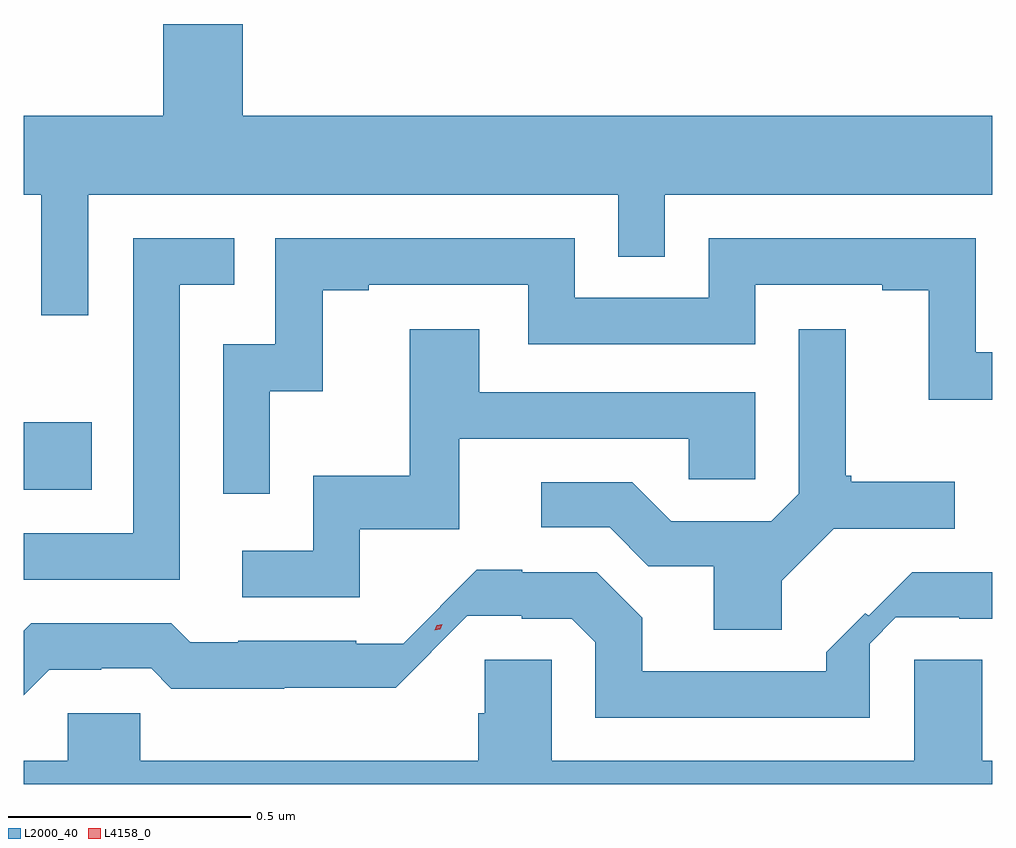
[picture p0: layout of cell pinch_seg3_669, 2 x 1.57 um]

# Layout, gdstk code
import gdstk
lib = gdstk.Library(unit=1e-6, precision=1e-09)
def R(c, l, rs):  # rectangles x0, y0, x1, y1
    for r in rs: c.add(gdstk.rectangle(r[:2], r[2:], *l))
def P(c, l, *ps):  # polygons
    for p in ps: c.add(gdstk.Polygon(p, *l))
L2000_40 = (2000, 40)
L4158_0 = (4158, 0)

pinch_seg3_669 = lib.new_cell('pinch_seg3_669')
R(pinch_seg3_669, L2000_40, [(1039.844,667.007,1039.985,667.147)])
P(pinch_seg3_669, L2000_40, [(1039.977,667.616),(1041.072,667.616),(1041.072,667.489),(1041.168,667.489),(1041.168,667.616),(1041.844,667.616),(1041.844,667.78),(1040.296,667.78),(1040.296,667.969),(1040.132,667.969),(1040.132,667.78),(1039.844,667.78),(1039.844,667.616),(1039.88,667.616),(1039.88,667.368),(1039.977,667.368)],
  [(1040.352,667.211),(1040.462,667.211),(1040.462,667.419),(1040.557,667.419),(1040.557,667.431),(1040.886,667.431),(1040.886,667.308),(1041.354,667.308),(1041.354,667.431),(1041.617,667.431),(1041.617,667.419),(1041.713,667.419),(1041.713,667.193),(1041.844,667.193),(1041.844,667.291),(1041.81,667.291),(1041.81,667.527),(1041.258,667.527),(1041.258,667.404),(1040.982,667.404),(1040.982,667.527),(1040.364,667.527),(1040.364,667.308),(1040.256,667.308),(1040.256,666.999),(1040.352,666.999)],
  [(1040.166,667.431),(1040.279,667.431),(1040.279,667.527),(1040.07,667.527),(1040.07,666.918),(1039.844,666.918),(1039.844,666.822),(1040.166,666.822)],
  [(1040.538,666.926),(1040.743,666.926),(1040.743,667.113),(1041.217,667.113),(1041.217,667.029),(1041.354,667.029),(1041.354,667.209),(1040.785,667.209),(1040.785,667.339),(1040.641,667.339),(1040.641,667.036),(1040.442,667.036),(1040.442,666.882),(1040.295,666.882),(1040.295,666.786),(1040.538,666.786)],
  [(1041.409,666.82),(1041.516,666.927),(1041.766,666.927),(1041.766,667.024),(1041.553,667.024),(1041.553,667.036),(1041.541,667.036),(1041.541,667.339),(1041.444,667.339),(1041.444,666.999),(1041.387,666.942),(1041.181,666.942),(1041.1,667.023),(1040.913,667.023),(1040.913,666.93),(1041.054,666.93),(1041.134,666.85),(1041.269,666.85),(1041.269,666.718),(1041.409,666.718)],
  [(1041.591,666.69),(1041.645,666.744),(1041.776,666.744),(1041.776,666.741),(1041.844,666.741),(1041.844,666.837),(1041.679,666.837),(1041.589,666.747),(1041.582,666.753),(1041.501,666.672),(1041.501,666.633),(1041.121,666.633),(1041.121,666.743),(1041.027,666.837),(1040.873,666.837),(1040.873,666.842),(1040.78,666.842),(1040.628,666.69),(1040.531,666.69),(1040.531,666.696),(1040.287,666.696),(1040.287,666.693),(1040.188,666.693),(1040.149,666.732),(1039.86,666.732),(1039.844,666.716),(1039.844,666.583),(1039.897,666.636),(1040.004,666.636),(1040.004,666.639),(1040.107,666.639),(1040.149,666.597),(1040.382,666.597),(1040.382,666.599),(1040.612,666.599),(1040.76,666.747),(1040.872,666.747),(1040.872,666.741),(1040.976,666.741),(1041.024,666.693),(1041.024,666.537),(1041.591,666.537)],
  [(1041.844,666.448),(1041.823,666.448),(1041.823,666.656),(1041.683,666.656),(1041.683,666.448),(1040.934,666.448),(1040.934,666.656),(1040.796,666.656),(1040.796,666.546),(1040.783,666.546),(1040.783,666.448),(1040.085,666.448),(1040.085,666.546),(1039.935,666.546),(1039.935,666.448),(1039.844,666.448),(1039.844,666.4),(1041.844,666.4)])
P(pinch_seg3_669, L4158_0, [(1040.693,666.717),(1040.697,666.728),(1040.697,666.728),(1040.697,666.728),(1040.708,666.73),(1040.704,666.719),(1040.704,666.719),(1040.704,666.719)])

lib.write_gds('pinch_seg3_669.gds')
